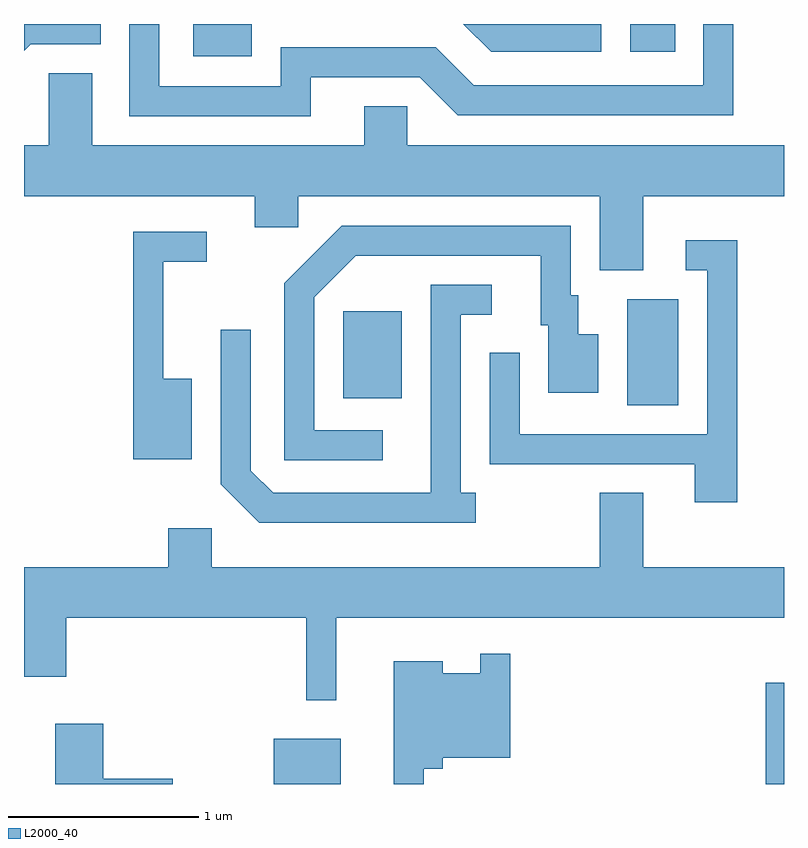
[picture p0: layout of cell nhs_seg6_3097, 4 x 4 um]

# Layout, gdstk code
import gdstk
lib = gdstk.Library(unit=1e-6, precision=1e-09)
def R(c, l, rs):  # rectangles x0, y0, x1, y1
    for r in rs: c.add(gdstk.rectangle(r[:2], r[2:], *l))
def P(c, l, *ps):  # polygons
    for p in ps: c.add(gdstk.Polygon(p, *l))
L2000_40 = (2000, 40)

nhs_seg6_3097 = lib.new_cell('nhs_seg6_3097')
R(nhs_seg6_3097, L2000_40, [(278.926,1660.162,279.279,1660.399), (281.516,1660.162,281.611,1660.694), (280.786,1662.156,281.054,1662.714), (279.291,1662.191,279.599,1662.649), (278.501,1663.991,278.809,1664.162), (280.801,1664.016,281.038,1664.162)])
P(nhs_seg6_3097, L2000_40, [(280.649,1664.162),(279.923,1664.162),(280.069,1664.016),(280.649,1664.016)],
  [(279.119,1663.881),(279.694,1663.881),(279.894,1663.681),(281.344,1663.681),(281.344,1664.162),(281.186,1664.162),(281.186,1663.839),(279.977,1663.839),(279.777,1664.039),(278.961,1664.039),(278.961,1663.834),(278.324,1663.834),(278.324,1664.162),(278.166,1664.162),(278.166,1663.676),(279.119,1663.676)],
  [(277.647,1664.056),(278.014,1664.056),(278.014,1664.162),(277.611,1664.162),(277.611,1664.02)],
  [(280.869,1663.256),(281.611,1663.256),(281.611,1663.524),(279.629,1663.524),(279.629,1663.729),(279.401,1663.729),(279.401,1663.524),(277.969,1663.524),(277.969,1663.904),(277.741,1663.904),(277.741,1663.524),(277.611,1663.524),(277.611,1663.256),(278.826,1663.256),(278.826,1663.091),(279.054,1663.091),(279.054,1663.256),(280.641,1663.256),(280.641,1662.866),(280.869,1662.866)],
  [(279.498,1662.024),(279.139,1662.024),(279.139,1662.724),(279.357,1662.941),(280.331,1662.941),(280.331,1662.576),(280.371,1662.576),(280.371,1662.221),(280.634,1662.221),(280.634,1662.529),(280.529,1662.529),(280.529,1662.734),(280.489,1662.734),(280.489,1663.099),(279.284,1663.099),(278.981,1662.797),(278.981,1661.866),(279.498,1661.866)],
  [(278.494,1662.294),(278.344,1662.294),(278.344,1662.911),(278.573,1662.911),(278.573,1663.069),(278.186,1663.069),(278.186,1661.871),(278.494,1661.871)],
  [(281.364,1663.024),(281.093,1663.024),(281.093,1662.866),(281.206,1662.866),(281.206,1662.004),(280.219,1662.004),(280.219,1662.433),(280.061,1662.433),(280.061,1661.846),(281.141,1661.846),(281.141,1661.646),(281.364,1661.646)],
  [(279.988,1661.694),(279.909,1661.694),(279.909,1662.631),(280.073,1662.631),(280.073,1662.789),(279.751,1662.789),(279.751,1661.694),(278.922,1661.694),(278.804,1661.812),(278.804,1662.553),(278.646,1662.553),(278.646,1661.739),(278.849,1661.536),(279.988,1661.536)],
  [(279.254,1661.036),(281.611,1661.036),(281.611,1661.304),(280.869,1661.304),(280.869,1661.694),(280.641,1661.694),(280.641,1661.304),(278.599,1661.304),(278.599,1661.509),(278.371,1661.509),(278.371,1661.304),(277.611,1661.304),(277.611,1660.726),(277.834,1660.726),(277.834,1661.036),(279.096,1661.036),(279.096,1660.603),(279.254,1660.603)],
  [(279.714,1660.241),(279.814,1660.241),(279.814,1660.301),(280.169,1660.301),(280.169,1660.848),(280.011,1660.848),(280.011,1660.744),(279.814,1660.744),(279.814,1660.809),(279.556,1660.809),(279.556,1660.162),(279.714,1660.162)],
  [(278.394,1660.189),(278.029,1660.189),(278.029,1660.479),(277.776,1660.479),(277.776,1660.162),(278.394,1660.162)])

lib.write_gds('nhs_seg6_3097.gds')
